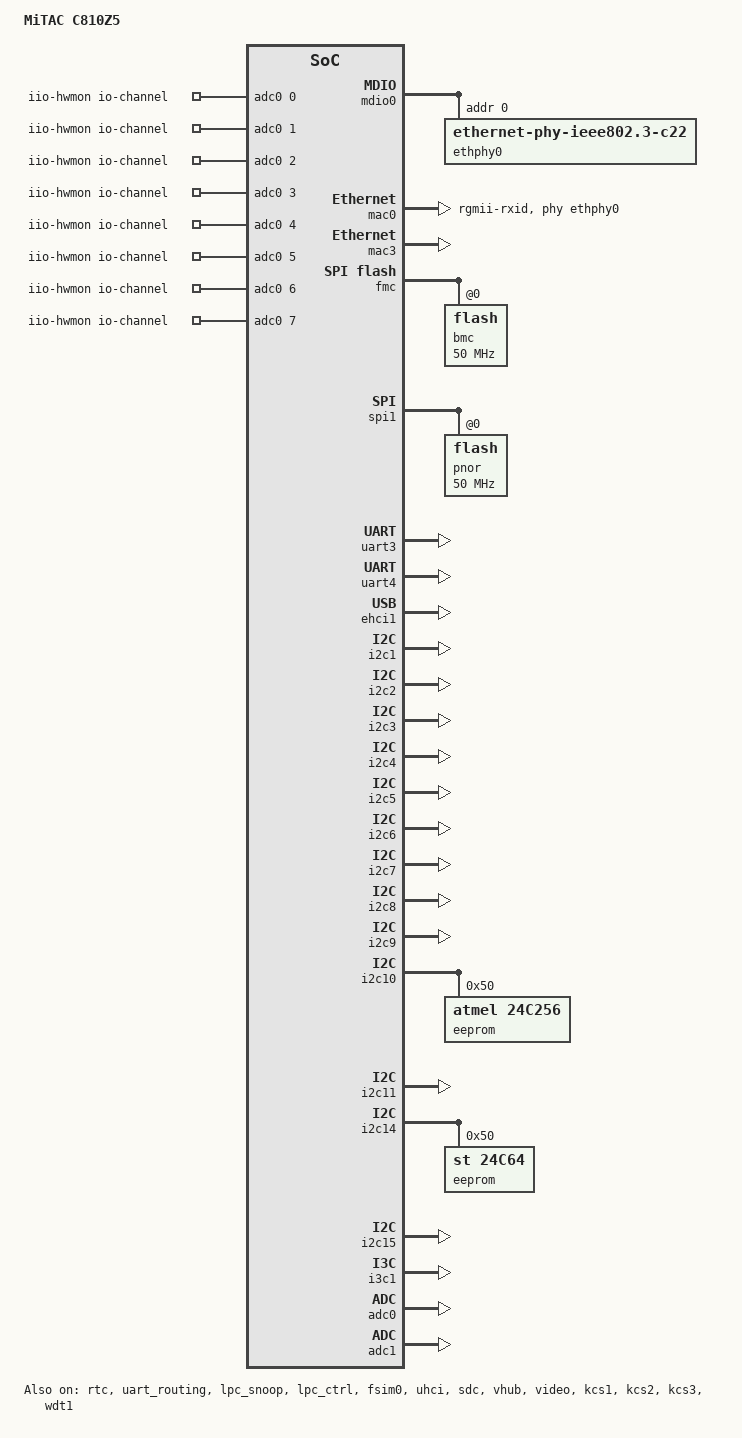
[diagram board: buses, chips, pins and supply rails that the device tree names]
// SPDX-License-Identifier: GPL-2.0-or-later
// Copyright 2024 MiTAC-Computing Corp.

/dts-v1/;

#include "aspeed-g6.dtsi"
#include <dt-bindings/gpio/aspeed-gpio.h>

/ {
	model = "MiTAC C810Z5";
	#include "aspeed-bmc-mitac-2600-reserved-memory.dtsi"

        gpio-keys {
                compatible = "gpio-keys";

		#include "aspeed-bmc-mitac-common-buttons.dtsi"
        };

        iio-hwmon {
                compatible = "iio-hwmon";
                io-channels = <&adc0 0>, <&adc0 1>, <&adc0 2>, <&adc0 3>,
                        <&adc0 4>, <&adc0 5>, <&adc0 6>, <&adc0 7>,
                        <&adc1 0>, <&adc1 1>, <&adc1 2>, <&adc1 3>,
                        <&adc1 4>, <&adc1 5>, <&adc1 6>, <&adc1 7>;
        };
};

&mdio0 {
	status = "okay";

	ethphy0: ethernet-phy@0 {
		compatible = "ethernet-phy-ieee802.3-c22";
		reg = <0>;
	};
};

&mac0 {
        status = "okay";

        phy-mode = "rgmii-rxid";
        phy-handle = <&ethphy0>;

        pinctrl-names = "default";
        pinctrl-0 = <&pinctrl_rgmii1_default>;
};

&mac3 {
        status = "okay";
        pinctrl-names = "default";
        pinctrl-0 = <&pinctrl_rmii4_default>;
        clock-names = "MACCLK", "RCLK";
        use-ncsi;
};

&rtc {
	status = "okay";
};

&fmc {
	status = "okay";
	flash@0 {
		status = "okay";
		m25p,fast-read;
		label = "bmc";
		spi-rx-bus-width = <4>;
		spi-max-frequency = <50000000>;
#include "MiOBMC-flash-layout-64.dtsi"
	};
};

&spi1 {
	status = "okay";
	pinctrl-names = "default";
	pinctrl-0 = <&pinctrl_spi1_default>;

	flash@0 {
		status = "okay";
		m25p,fast-read;
		label = "pnor";
		spi-rx-bus-width = <1>;
		spi-max-frequency = <50000000>;
	};
};

&uart3 {
        status = "okay";
};

&uart4 {
        status = "okay";
};

&uart5 {
	// Workaround for A0
	compatible = "snps,dw-apb-uart";
};

&uart_routing {
        status = "okay";
};

&lpc_snoop {
	status = "okay";
	snoop-ports = <0x80>, <0x81>;
};

&lpc_ctrl {
	status = "okay";
};

/*
&lpc_pcc {
        port-addr = <0x80>;
        dma-mode;
	// It is required to be 4 bytes mode when A2600-15 is activated.
        A2600-15;
        memory-region = <&pcc_memory>;
        rec-mode = <0x1>;
        port-addr-hbits-select = <0x1>;
        port-addr-xbits = <0x3>;

        status = "okay";
};
*/

&fsim0 {
	status = "okay";
};

&ehci1 {
	status = "okay";
};

&uhci {
	status = "okay";
};

&sdc {
	status = "okay";
};

&vhub {
	status = "okay";
	pinctrl-names = "default";
        pinctrl-0 = <&pinctrl_usb2ad_default>;
};

&video {
	status = "okay";
	memory-region = <&video_engine_memory>;
};

&kcs1 {
        kcs-io-addr = <0xca0>;
	kcs-channel = <1>;
        status = "okay";
};

&kcs2 {
        kcs-io-addr = <0xca8>;
	kcs-channel = <2>;
        status = "okay";
};

&kcs3 {
        kcs-io-addr = <0xca2>;
	kcs-channel = <3>;
        status = "okay";
};

&wdt1 {
        status = "okay";
        pinctrl-names = "default";
        pinctrl-0 = <&pinctrl_wdtrst1_default>;
        aspeed,reset-type = "soc";
        aspeed,external-signal;
        aspeed,ext-push-pull;
        aspeed,ext-active-high;
        aspeed,ext-pulse-duration = <256>;
};

/*
&wdt2 {
        status = "okay";
        pinctrl-names = "default";
        pinctrl-0 = <&pinctrl_wdtrst2_default>;
        aspeed,reset-type = "system";
};
*/

&mbox {
        status = "okay";
};

/*
&espi {
        status = "okay";
        perif-dma-mode;
        oob-dma-mode;
        flash-dma-mode;
};
*/

&i2c1 {
	status = "okay";    
};
&i2c2 {
        status = "okay";
};

&i2c3 {
        status = "okay";
};
&i2c4 {
        status = "okay";
};
&i2c5 {
        status = "okay";
};
&i2c6 {
        status = "okay";
};
&i2c7 {
        status = "okay";
};
&i2c8 {
        status = "okay";
};
&i2c9 {
        status = "okay";
};
&i2c10 {
        status = "okay";
		// MB FRU for C2810Z5 MPH
		eeprom@50 {
			compatible = "atmel,24c256";
			reg = <0x50>;
		};
};
&i2c11 {
        status = "okay";
};
/* Used as SGPIO
&i2c12 {
	status = "okay";
};
&i2c13 {
	status = "okay";
};
*/
&i2c14 {
        status = "okay";
		// DC-SCM FRU on C2810Z5 DCSCM
		eeprom@50 {
			compatible = "st,24c64";
			reg = <0x50>;
		};
};
&i2c15 {
        status = "okay";
};

/*
&i3c0 {
        status = "okay";
};
*/
#include <dt-bindings/i3c/i3c.h>

&i3c1 {
	bus-context = /bits/ 8 <I3C_BUS_CONTEXT_JESD403>;
        status = "okay";
};

&adc0 {
        status = "okay";
        pinctrl-0 = <&pinctrl_adc0_default &pinctrl_adc1_default
                        &pinctrl_adc2_default &pinctrl_adc3_default
                        &pinctrl_adc4_default &pinctrl_adc5_default
                        &pinctrl_adc6_default &pinctrl_adc7_default>;
};

&adc1 {
        status = "okay";
        pinctrl-0 = <&pinctrl_adc8_default &pinctrl_adc9_default
			&pinctrl_adc10_default &pinctrl_adc11_default
			&pinctrl_adc12_default &pinctrl_adc13_default
			&pinctrl_adc14_default &pinctrl_adc15_default>;
};

/*
&sgpiom0 {
        status = "okay";
        ngpios = <128>;
};

&sgpiom1 {
        status = "okay";
        ngpios = <128>;
};
*/

&gpio0 {
	gpio-line-names =
	/*A0-A7*/	"gpio-a0","","","","","","","",
	/*B0-B7*/	"gpio-b0","","","","","","","",
	/*C0-C7*/	"chassis-power-good","FM_SKT1_FAULT_LED","","",
			"","","","",
	/*D0-D7*/	"gpio-d0","","","","","","","",
	/*E0-E7*/	"gpio-e0","","","","","","","",
	/*F0-F7*/	"gpio-f0","","","","","","","",
	/*G0-G7*/	"","","","","","","","",
	/*H0-H7*/	"gpio-h0","","","","","","","",
	/*I0-I7*/	"gpio-i0","","","","","","","",
	/*J0-J7*/	"gpio-j0","","","","","","","",
	/*K0-K7*/	"gpio-k0","","","","","","","",
	/*L0-L7*/	"gpio-l0","","","","","","","",
	/*M0-M7*/	"gpio-00","","","","","","","",
	/*N0-N7*/	"gpio-n0","nmi-control","","",
			"bios-post-complete","","","",
	/*O0-O7*/	"gpio-o0","","","","","","","",
	/*P0-P7*/	"","power-control","reset-button","reset-control",
			"nmi-button","","","",
	/*Q0-Q7*/	"gpio-q0","","","identify-led","","","","",
	/*R0-R7*/	"gpio-r0","","","","bmc-ready-n","","","",
	/*S0-S7*/	"gpio-s0","","","",
			"","cmos-bat-scaled-en-n","","",
	/*T0-T7*/	"gpio-t0","","","","","","","",
	/*U0-U7*/	"gpio-u0","","","","","","power-button","",
	/*V0-V7*/	"SIO_S3","SIO_S5","","SIO_ONCONTROL",
			"","spi-mux-bios","","",
	/*W0-W7*/	"gpio-w0","","","","","","","",
	/*X0-X7*/	"gpio-x0","","","","","","","",
	/*Y0-Y7*/	"gpio-y0","","","","","","","",
	/*Z0-Z7*/	"gpio-z0","identify-button","FM_FAN_PCA9555_INT_R_N","","","","","";
};

&gpio1 {
	gpio-line-names =
	/*18A0-18A7*/	"","","","",
			"","","","",
	/*18B0-18B7*/	"","","","","","","","",
	/*18C0-18C7*/	"","","","",
			"","","","",
	/*18D0-18D7*/	"","","","","","","","",
	/*18E0-18E3*/	"","","","";
};

#include "aspeed-bmc-mitac-common.dtsi"
#include "aspeed-bmc-mitac-2600-enable-dp.dtsi"
